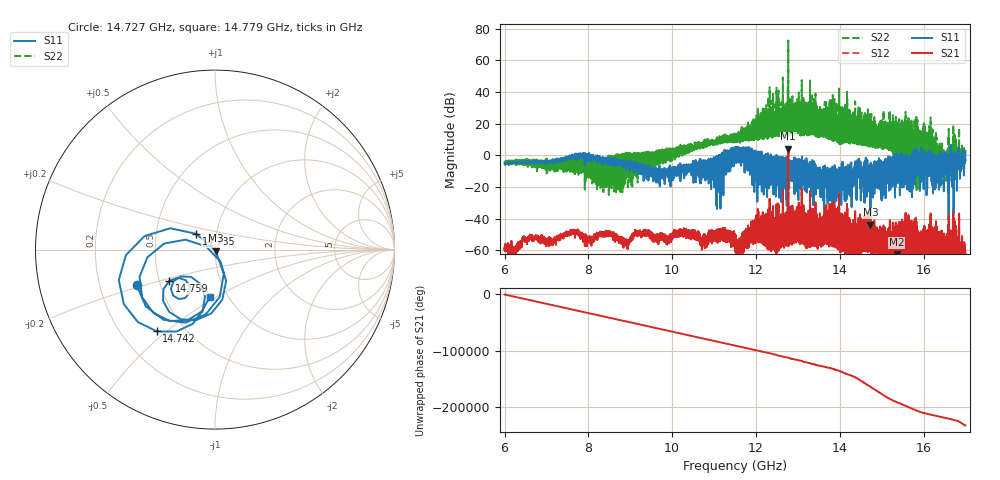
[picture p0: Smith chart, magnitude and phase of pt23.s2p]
#  HZ  S  RI  R  50.00
! Rohde & Schwarz Vector Network Analyzer
! Rohde-Schwarz,ZNA67-2Port,1332450062101215,3.01
! Created: UTC 10/15/2026, 2:56:21 PM
! freq[Hz]  re:S11  im:S11  re:S21  im:S21  re:S12  im:S12  re:S22  im:S22
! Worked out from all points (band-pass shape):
!   11001 points, 6 GHz to 17 GHz, reference 50 ohm
!   highest |S21| = 4.17 dB at 12.772 GHz (marker M1); lowest = -83.6 dB at 15.365 GHz (marker M2)
!   |S21| within 3 dB of the highest: 12.77194 GHz to 12.77206 GHz (112.6 kHz wide, 0.000882 % of centre)
!   lowest |S11| = -43.8 dB at 14.734 GHz (marker M3), VSWR 1.01, Z = 50.3 - j0.575 ohm
!   |S11| at or under -10 dB: 13.65208 GHz to 13.70161 GHz (49.52 MHz wide, 0.362 % of centre); 13.72009 GHz to 13.76949 GHz (49.4 MHz wide, 0.359 % of centre); 14.0808 GHz to 14.12742 GHz (46.62 MHz wide, 0.331 % of centre) (the widest 3 of 480)
!   |S22| runs from -25.0 to 72.6 dB; largest |S21 - S12| = 0.061
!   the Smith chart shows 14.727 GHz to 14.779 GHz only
!   S11 on the Smith chart (normalised r, x): 14.727 GHz: 0.37, -0.19; 14.735 GHz: 0.80, +0.14; 14.742 GHz: 0.35, -0.46; 14.759 GHz: 0.56, -0.22; 14.779 GHz: 0.82, -0.47
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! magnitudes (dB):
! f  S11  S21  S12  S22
! 6 GHz  -5.3  -58.7  -58.7  -3.8
! 6.24 GHz  -4.4  -61.0  -60.9  -3.5
! 6.602 GHz  -4.4  -51.0  -50.8  -3.0
! 7.834 GHz  -0.4  -50.4  -50.3  -11.0
! 9.667 GHz  -10.6  -54.2  -54.6  -3.9
! 11.053 GHz  -0.4  -49.8  -49.6  9.0
! 11.5 GHz  4.8  -56.6  -56.6  9.3
! 12.772 GHz  -7.2  4.2  4.2  72.6
! 13.334 GHz  -6.5  -53.6  -54.1  16.6
! 13.806 GHz  -14.2  -46.6  -46.7  19.5
! 14.461 GHz  -2.3  -52.0  -51.7  19.5
! 14.727 GHz  -6.4  -60.4  -60.1  5.7
! 14.734 GHz  -43.8  -56.1  -55.9  12.3
! 14.735 GHz  -17.3  -56.1  -56.3  11.8
! 14.742 GHz  -5.1  -41.4  -41.6  25.0
! 14.759 GHz  -10.2  -57.3  -57.6  9.4
! 14.779 GHz  -11.5  -55.5  -56.1  10.2
! 15.167 GHz  -9.3  -64.4  -64.5  7.1
! 15.365 GHz  -9.9  -83.6  -83.4  -0.3
! 15.945 GHz  -1.1  -51.1  -52.7  13.1
! 16.532 GHz  -9.0  -52.9  -52.0  -2.9
! 17 GHz  2.7  -62.4  -62.8  -2.4
